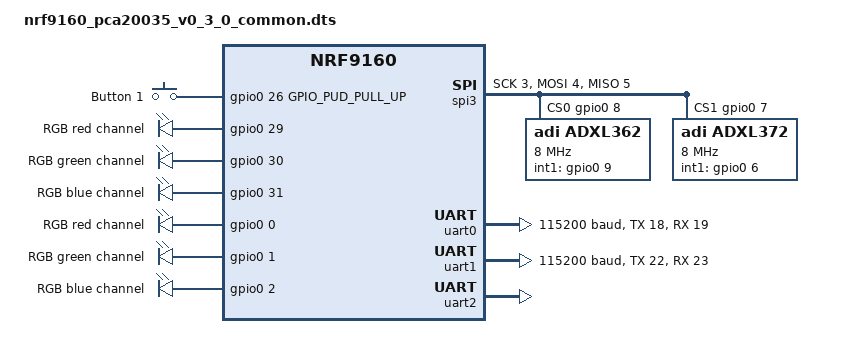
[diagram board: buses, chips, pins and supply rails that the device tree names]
/*
 * Copyright (c) 2019 Nordic Semiconductor ASA
 *
 * SPDX-License-Identifier: LicenseRef-BSD-5-Clause-Nordic
 */

#include "nrf9160_pca20035_common.dts"

/ {
	buttons {
		compatible = "gpio-keys";

		button0: button_0 {
			gpios = <&gpio0 26 GPIO_PUD_PULL_UP>;
			label = "Button 1";
		};
	};

	leds {
		compatible = "gpio-leds";
		red_led: led_1 {
			gpios = <&gpio0 29 0>;
			label = "RGB red channel";
		};
		green_led: led_2 {
			gpios = <&gpio0 30 0>;
			label = "RGB green channel";
		};
		blue_led: led_3 {
			gpios = <&gpio0 31 0>;
			label = "RGB blue channel";
		};
		sense_red_led: led_4 {
			gpios = <&gpio0 0 0>;
			label = "RGB red channel";
		};
		sense_green_led: led_5 {
			gpios = <&gpio0 1 0>;
			label = "RGB green channel";
		};
		sense_blue_led: led_6 {
			gpios = <&gpio0 2 0>;
			label = "RGB blue channel";
		};
	};

	aliases {
		sw0 = &button0;
		led0 = &red_led;
		led1 = &green_led;
		led2 = &blue_led;
		sense-led0 = &sense_red_led;
		sense-led1 = &sense_green_led;
		sense-led2 = &sense_blue_led;
	};
};

&spi3 {
	status = "ok";
	sck-pin = <3>;
	mosi-pin = <4>;
	miso-pin = <5>;
	cs-gpios = <&gpio0 8 0>, <&gpio0 7 0>;

	adxl362@0 {
		compatible = "adi,adxl362";
		label = "ADXL362";
		spi-max-frequency = <8000000>;
		reg = <0>;
		int1-gpios = <&gpio0 9 0>;
	};

	adxl372@1 {
		compatible = "adi,adxl372";
		label = "ADXL372";
		spi-max-frequency = <8000000>;
		reg = <1>;
		int1-gpios = <&gpio0 6 0>;
	};
};

&uart0 {
	current-speed = <115200>;
	status = "ok";
	tx-pin = <18>;
	rx-pin = <19>;
	rts-pin = <20>;
	cts-pin = <21>;
};

&uart1 {
	current-speed = <115200>;
	status = "ok";
	tx-pin = <22>;
	rx-pin = <23>;
	rts-pin = <24>;
	cts-pin = <25>;
};

/* UART2 must be enabled for defines to be available for secure partition manager. */
&uart2 {
	status = "ok";
};
